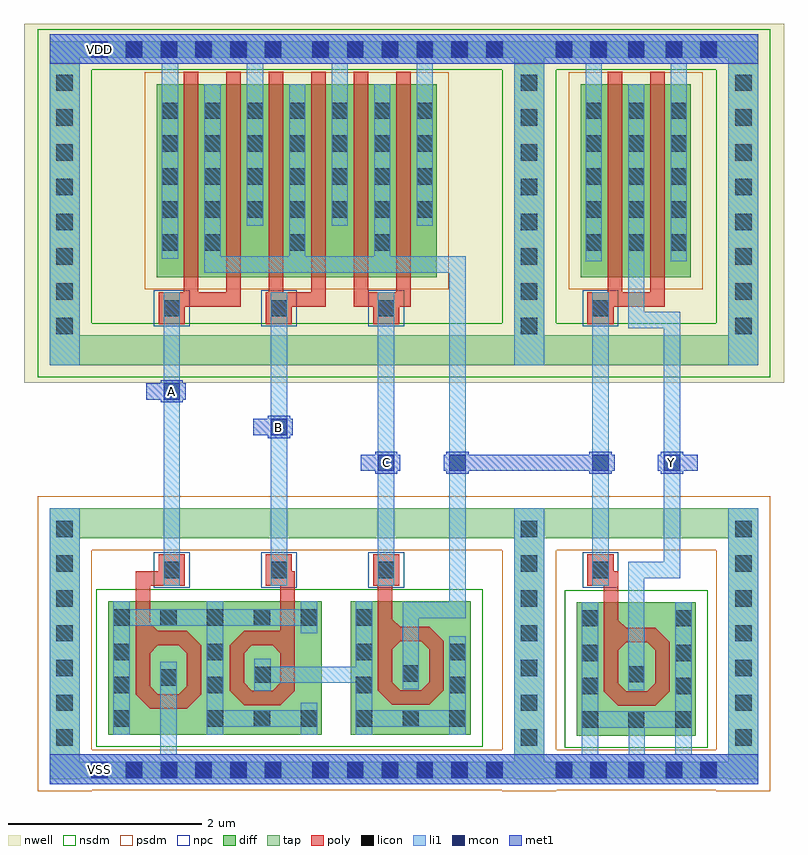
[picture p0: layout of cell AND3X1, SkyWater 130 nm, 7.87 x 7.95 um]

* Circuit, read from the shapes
.subckt AND3X1 A B C VDD VSS Y
XM1 n1 A VSS VSS sky130_fd_pr__nfet_01v8 w=2.6 l=0.1459
XM2 n1 B n2 VSS sky130_fd_pr__nfet_01v8 w=2.52 l=0.1446
XM3 n2 C n3 VSS sky130_fd_pr__nfet_01v8 w=2.56 l=0.1472
XM4 VSS n3 Y VSS sky130_fd_pr__nfet_01v8 w=2.56 l=0.1467
XM5 n3 A VDD VDD sky130_fd_pr__pfet_01v8 w=2 l=0.15 m=2
XM6 n3 B VDD VDD sky130_fd_pr__pfet_01v8 w=2 l=0.15 m=2
XM7 n3 C VDD VDD sky130_fd_pr__pfet_01v8 w=2 l=0.15 m=2
XM8 Y n3 VDD VDD sky130_fd_pr__pfet_01v8 w=2 l=0.15 m=2
.ends

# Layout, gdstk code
import gdstk
lib = gdstk.Library(unit=1e-6, precision=1e-09)
def R(c, l, rs):  # rectangles x0, y0, x1, y1
    for r in rs: c.add(gdstk.rectangle(r[:2], r[2:], *l))
def A(c, l, x, y, w, h, nx, ny, dx, dy):  # array of equal rectangles
    R(c, l, [(x+i*dx, y+j*dy, x+i*dx+w, y+j*dy+h) for i in range(nx) for j in range(ny)])
def P(c, l, *ps):  # polygons
    for p in ps: c.add(gdstk.Polygon(p, *l))
nwell = (64, 20)
diff = (65, 20)
tap = (65, 44)
poly = (66, 20)
licon = (66, 44)
li1 = (67, 20)
mcon = (67, 44)
met1 = (68, 20)
nsdm = (93, 44)
psdm = (94, 20)
npc = (95, 20)

and3x1 = lib.new_cell('AND3X1')
R(and3x1, nwell, [(-0.42,4.16,7.45,7.875)])
R(and3x1, diff, [(5.305,0.505,6.535,1.885), (0.455,0.515,2.665,1.895), (2.965,0.515,4.205,1.895), (0.955,5.25,3.855,7.25), (5.345,5.25,6.485,7.25)])
R(and3x1, tap, [(-0.155,0.055,0.155,0.065), (4.655,0.055,4.965,0.065), (6.875,0.055,7.185,0.065), (-0.155,0.065,7.185,0.235), (-0.155,0.235,0.155,2.55), (4.655,0.235,4.965,2.55), (6.875,0.235,7.185,2.55), (-0.155,2.55,7.185,2.86), (-0.155,4.34,7.185,4.65), (-0.155,4.65,0.155,7.525), (4.655,4.65,4.965,7.525), (6.875,4.65,7.185,7.525), (-0.155,7.525,7.185,7.695)])
A(and3x1, poly, 0.975, 4.765, 0.27, 0.18, 3, 1, 1.11, 0)
A(and3x1, poly, 1.235, 5.095, 0.15, 2.285, 6, 1, 0.44, 0)
R(and3x1, poly, [(0.885,0.785,1.265,0.935), (5.735,0.815,6.115,0.82), (1.86,0.82,2.235,0.97), (5.73,0.82,6.115,0.825), (3.395,0.825,3.775,0.975), (5.725,0.825,6.115,0.965), (0.735,0.935,0.885,1.44), (1.265,0.935,1.415,1.44), (5.585,0.965,5.735,1.47), (6.115,0.965,6.265,1.47), (1.71,0.97,1.86,1.44), (2.235,0.97,2.385,1.44), (3.245,0.975,3.395,1.48), (3.775,0.975,3.925,1.48), (0.735,1.44,1.265,1.59), (1.86,1.44,2.385,1.59), (5.585,1.47,6.115,1.62), (3.245,1.48,3.775,1.63), (0.735,1.59,0.885,2.055), (2.235,1.59,2.385,2.055), (5.585,1.62,5.735,2.055), (3.245,1.63,3.395,2.055), (0.735,2.055,1.245,2.205), (2.085,2.055,2.385,2.205), (3.195,2.055,3.465,2.385), (5.415,2.055,5.735,2.205), (0.975,2.205,1.245,2.385), (2.085,2.205,2.355,2.385), (5.415,2.205,5.685,2.385), (5.415,4.765,5.685,4.945), (0.975,4.945,1.825,5.095), (2.085,4.945,2.705,5.095), (2.995,4.945,3.585,5.095), (5.415,4.945,6.215,5.095), (5.625,5.095,5.775,7.38), (6.065,5.095,6.215,7.38)])
P(and3x1, poly, [(0.885,1.67),(0.885,1.59),(0.965,1.59)],
  [(1.265,1.59),(1.265,1.44),(1.415,1.44)],
  [(0.885,1.36),(0.885,1.44),(0.965,1.44)],
  [(1.185,1.44),(1.265,1.44),(1.265,1.36)],
  [(0.885,1.015),(0.885,0.935),(0.965,0.935)],
  [(1.185,0.935),(1.265,0.935),(1.265,1.015)],
  [(0.735,0.935),(0.885,0.935),(0.885,0.785)],
  [(1.265,0.785),(1.265,0.935),(1.415,0.935)],
  [(1.71,1.44),(1.86,1.44),(1.86,1.59)],
  [(1.86,1.36),(1.86,1.44),(1.94,1.44)],
  [(2.155,1.44),(2.235,1.44),(2.235,1.36)],
  [(1.86,1.05),(1.86,0.97),(1.94,0.97)],
  [(2.155,0.97),(2.235,0.97),(2.235,1.05)],
  [(1.71,0.97),(1.86,0.97),(1.86,0.82)],
  [(2.235,0.82),(2.235,0.97),(2.385,0.97)],
  [(3.395,1.71),(3.395,1.63),(3.475,1.63)],
  [(3.775,1.63),(3.775,1.48),(3.925,1.48)],
  [(3.395,1.4),(3.395,1.48),(3.475,1.48)],
  [(3.695,1.48),(3.775,1.48),(3.775,1.4)],
  [(3.395,1.055),(3.395,0.975),(3.475,0.975)],
  [(3.695,0.975),(3.775,0.975),(3.775,1.055)],
  [(3.245,0.975),(3.395,0.975),(3.395,0.825)],
  [(3.775,0.825),(3.775,0.975),(3.925,0.975)],
  [(5.735,1.7),(5.735,1.62),(5.815,1.62)],
  [(6.115,1.62),(6.115,1.47),(6.265,1.47)],
  [(5.735,1.39),(5.735,1.47),(5.815,1.47)],
  [(6.035,1.47),(6.115,1.47),(6.115,1.39)],
  [(5.735,1.045),(5.735,0.965),(5.815,0.965)],
  [(6.035,0.965),(6.115,0.965),(6.115,1.045)],
  [(5.585,0.965),(5.725,0.965),(5.725,0.825)],
  [(5.725,0.825),(5.73,0.825),(5.73,0.82)],
  [(5.73,0.82),(5.735,0.82),(5.735,0.815)],
  [(6.115,0.815),(6.115,0.965),(6.265,0.965)])
A(and3x1, licon, 0.275, 0.065, 0.17, 0.17, 6, 2, 0.36, 7.46)
A(and3x1, licon, 2.565, 0.065, 0.17, 0.17, 6, 2, 0.36, 7.46)
A(and3x1, licon, 5.445, 0.065, 0.17, 0.17, 3, 2, 0.39, 7.46)
A(and3x1, licon, -0.085, 0.4, 0.17, 0.17, 1, 7, 0, 0.36)
A(and3x1, licon, 4.725, 0.4, 0.17, 0.17, 1, 7, 0, 0.36)
A(and3x1, licon, 6.945, 0.4, 0.17, 0.17, 1, 7, 0, 0.36)
A(and3x1, licon, 1.475, 0.595, 0.17, 0.17, 3, 1, 0.485, 0)
A(and3x1, licon, 3.015, 0.595, 0.17, 0.17, 3, 1, 0.485, 0)
A(and3x1, licon, 0.505, 1.645, 0.17, 0.17, 5, 1, 0.485, 0)
A(and3x1, licon, 1.025, 2.135, 0.17, 0.17, 3, 2, 1.11, 2.71)
A(and3x1, licon, -0.085, 4.66, 0.17, 0.17, 1, 8, 0, 0.36)
A(and3x1, licon, 4.725, 4.66, 0.17, 0.17, 1, 8, 0, 0.36)
A(and3x1, licon, 6.945, 4.66, 0.17, 0.17, 1, 8, 0, 0.36)
A(and3x1, licon, 1.445, 5.525, 0.17, 0.17, 3, 1, 0.88, 0)
A(and3x1, licon, 5.395, 5.525, 0.17, 0.17, 3, 2, 0.44, 0.345)
A(and3x1, licon, 1.005, 5.87, 0.17, 0.17, 7, 4, 0.44, 0.34)
A(and3x1, licon, 5.395, 6.21, 0.17, 0.17, 3, 3, 0.44, 0.34)
R(and3x1, licon, [(5.085,0.065,5.255,0.235), (6.585,0.065,6.755,0.235), (5.355,0.585,5.525,0.755), (5.835,0.585,6.005,0.755), (6.325,0.585,6.495,0.755), (0.505,0.595,0.675,0.765), (5.355,0.935,5.525,1.105), (6.325,0.935,6.495,1.105), (0.505,0.945,0.675,1.115), (1.475,0.945,1.645,1.115), (3.015,0.945,3.185,1.115), (3.985,0.945,4.155,1.115), (0.99,1.02,1.16,1.19), (1.965,1.05,2.135,1.22), (5.835,1.055,6.005,1.225), (3.5,1.065,3.67,1.235), (5.355,1.275,5.525,1.445), (6.325,1.275,6.495,1.445), (0.505,1.285,0.675,1.455), (1.475,1.285,1.645,1.455), (3.015,1.285,3.185,1.455), (3.985,1.285,4.155,1.455), (5.355,1.635,5.525,1.805), (6.325,1.635,6.495,1.805), (3.015,1.645,3.185,1.815), (5.465,2.135,5.635,2.305), (5.465,4.845,5.635,5.015), (1.005,5.525,1.175,5.695), (5.085,7.525,5.255,7.695), (6.585,7.525,6.755,7.695)])
A(and3x1, li1, 5.355, 0.31, 0.17, 0.275, 3, 1, 0.485, 0)
A(and3x1, li1, 0.505, 1.815, 0.17, 0.08, 3, 1, 0.97, 0)
A(and3x1, li1, 1.025, 2.055, 0.17, 3.04, 3, 1, 1.11, 0)
A(and3x1, li1, 1.445, 5.47, 0.17, 1.78, 3, 1, 0.88, 0)
A(and3x1, li1, 1.885, 5.785, 0.17, 1.675, 3, 1, 0.88, 0)
R(and3x1, li1, [(-0.155,0,7.185,0.31), (-0.155,0.31,0.155,2.86), (0.99,0.31,1.16,1.27), (4.655,0.31,4.965,2.86), (6.875,0.31,7.185,2.86), (0.505,0.515,0.675,1.645), (1.475,0.515,1.645,0.595), (2.445,0.515,2.615,0.595), (3.015,0.515,3.185,0.595), (3.985,0.515,4.155,0.595), (5.355,0.585,6.495,0.755), (1.475,0.595,2.615,0.765), (3.015,0.595,4.155,0.765), (5.355,0.755,5.525,1.885), (6.325,0.755,6.495,1.885), (1.475,0.765,1.645,1.645), (2.445,0.765,2.615,0.845), (3.015,0.765,3.185,1.05), (3.985,0.765,4.155,1.535), (1.965,0.97,2.135,1.05), (5.835,0.975,6.005,2.135), (3.5,0.985,3.67,1.72), (1.965,1.05,3.185,1.22), (1.965,1.22,2.135,1.3), (3.015,1.22,3.185,1.895), (2.445,1.565,2.615,1.645), (0.505,1.645,2.615,1.815), (3.5,1.72,4.155,1.89), (3.985,1.89,4.155,5.3), (5.465,2.055,5.635,5.095), (5.835,2.135,6.375,2.305), (6.205,2.305,6.375,4.725), (-0.155,4.34,0.155,7.46), (4.655,4.34,4.965,7.46), (6.875,4.34,7.185,7.46), (5.835,4.725,6.375,4.895), (5.835,4.895,6.005,7.25), (1.445,5.3,4.155,5.47), (5.395,5.415,5.565,7.46), (6.275,5.415,6.445,7.46), (1.005,5.445,1.175,7.46), (-0.155,7.46,7.185,7.77)])
A(and3x1, mcon, 0.275, 0.065, 0.17, 0.17, 6, 2, 0.36, 7.46)
A(and3x1, mcon, 2.565, 0.065, 0.17, 0.17, 6, 2, 0.36, 7.46)
A(and3x1, mcon, 5.445, 0.065, 0.17, 0.17, 3, 2, 0.39, 7.46)
R(and3x1, mcon, [(5.085,0.065,5.255,0.235), (6.585,0.065,6.755,0.235), (3.245,3.245,3.415,3.415), (3.985,3.245,4.155,3.415), (5.465,3.245,5.635,3.415), (6.205,3.245,6.375,3.415), (2.135,3.615,2.305,3.785), (1.025,3.985,1.195,4.155), (5.085,7.525,5.255,7.695), (6.585,7.525,6.755,7.695)])
R(and3x1, met1, [(-0.155,0,7.185,0.31), (3.215,3.215,3.445,3.245), (3.955,3.215,4.185,3.245), (5.435,3.215,5.665,3.245), (6.175,3.215,6.405,3.245), (3.065,3.245,3.475,3.415), (3.925,3.245,5.695,3.415), (6.145,3.245,6.555,3.415), (3.215,3.415,3.445,3.445), (3.955,3.415,4.185,3.445), (5.435,3.415,5.665,3.445), (6.175,3.415,6.405,3.445), (2.105,3.585,2.335,3.615), (1.955,3.615,2.365,3.785), (2.105,3.785,2.335,3.815), (0.995,3.955,1.225,3.985), (0.845,3.985,1.255,4.155), (0.995,4.155,1.225,4.185), (-0.155,7.46,7.185,7.77)])
R(and3x1, nsdm, [(5.18,0.38,6.66,2.01), (0.33,0.39,4.33,2.02), (-0.28,4.215,7.31,4.775), (-0.28,4.775,0.28,7.4), (4.53,4.775,5.09,7.4), (6.75,4.775,7.31,7.4), (-0.28,7.4,7.31,7.82)])
R(and3x1, psdm, [(-0.28,-0.07,0.28,-0.06), (4.53,-0.07,5.09,-0.06), (6.75,-0.07,7.31,-0.06), (-0.28,-0.06,7.31,0.36), (-0.28,0.36,0.28,2.425), (4.53,0.36,5.09,2.425), (6.75,0.36,7.31,2.425), (-0.28,2.425,7.31,2.985), (0.83,5.125,3.98,7.375), (5.22,5.125,6.61,7.375)])
A(and3x1, npc, 0.925, 2.035, 0.37, 0.37, 3, 2, 1.11, 2.71)
R(and3x1, npc, [(5.365,2.035,5.735,2.405), (5.365,4.745,5.735,5.115)])
and3x1.add(gdstk.Label('Y', (6.29,3.33), layer=68, texttype=16))
and3x1.add(gdstk.Label('A', (1.11,4.07), layer=68, texttype=16))
and3x1.add(gdstk.Label('B', (2.22,3.7), layer=68, texttype=16))
and3x1.add(gdstk.Label('C', (3.33,3.33), layer=68, texttype=16))
and3x1.add(gdstk.Label('VDD', (0.36,7.61), layer=68, texttype=16))
and3x1.add(gdstk.Label('VSS', (0.36,0.15), layer=68, texttype=16))

lib.write_gds('AND3X1.gds')
